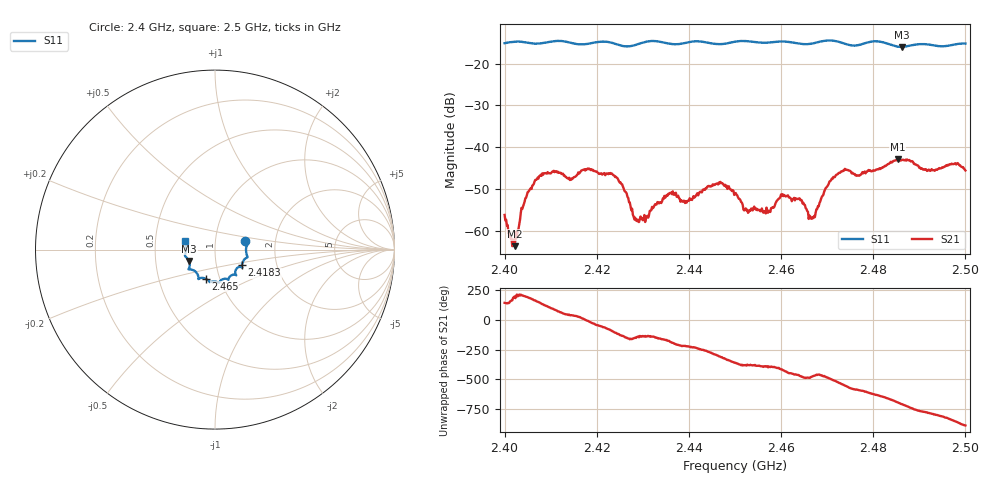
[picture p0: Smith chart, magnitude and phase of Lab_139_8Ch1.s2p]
# Hz S RI R 50
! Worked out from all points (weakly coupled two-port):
!   601 points, 2.4 GHz to 2.5 GHz, reference 50 ohm
!   highest |S21| = -42.89 dB at 2.4853 GHz (marker M1); lowest = -63.6 dB at 2.4022 GHz (marker M2)
!   lowest |S11| = -16.0 dB at 2.4862 GHz (marker M3), VSWR 1.37, Z = 37.1 - j4.84 ohm
!   |S11| at or under -10 dB: start of sweep to end of sweep
!   S12 and S22 are empty: the file has one direction only
!   S11 on the Smith chart (normalised r, x): 2.4 GHz: 1.40, +0.13; 2.4183 GHz: 1.33, -0.24; 2.465 GHz: 0.86, -0.29; 2.5 GHz: 0.71, +0.07
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2.4e9  0.1689 0.0458  -0.00121 0.000977  0 0  0 0
2.402167e9  0.1788 0.0357  -0.00064 -0.000163  0 0  0 0
2.404667e9  0.1771 0.0217  -0.00246 -0.000494  0 0  0 0
2.407167e9  0.1728 -0.00546  -0.00374 0.00221  0 0  0 0
2.416667e9  0.1549 -0.0683  0.00512 0.00136  0 0  0 0
2.418333e9  0.1499 -0.0866  0.00538 -0.00149  0 0  0 0
2.424167e9  0.1411 -0.0962  -0.00153 -0.00417  0 0  0 0
2.428667e9  0.1124 -0.1255  -0.00113 -0.000789  0 0  0 0
2.433333e9  0.1168 -0.1412  -0.00203 -0.000844  0 0  0 0
2.4395e9  0.0766 -0.1603  -0.00164 0.00145  0 0  0 0
2.4465e9  0.0484 -0.1634  0.00223 0.00306  0 0  0 0
2.45e9  0.0251 -0.1806  0.00281 3.14e-05  0 0  0 0
2.4525e9  0.0199 -0.1843  0.00162 -0.000706  0 0  0 0
2.457167e9  -0.0115 -0.1774  0.0013 -0.00103  0 0  0 0
2.4605e9  -0.0293 -0.1812  0.00114 -0.00235  0 0  0 0
2.465e9  -0.0528 -0.1621  -0.00115 -0.00172  0 0  0 0
2.466667e9  -0.0714 -0.1575  -0.000639 -0.00125  0 0  0 0
2.4725e9  -0.0919 -0.1569  -0.00482 -0.00109  0 0  0 0
2.483333e9  -0.1418 -0.0958  0.0033 0.0054  0 0  0 0
2.485333e9  -0.1412 -0.0729  0.00635 0.00333  0 0  0 0
2.486167e9  -0.1445 -0.0636  0.00688 0.00174  0 0  0 0
2.5e9  -0.1667 0.047  -0.0051 -0.0014  0 0  0 0
